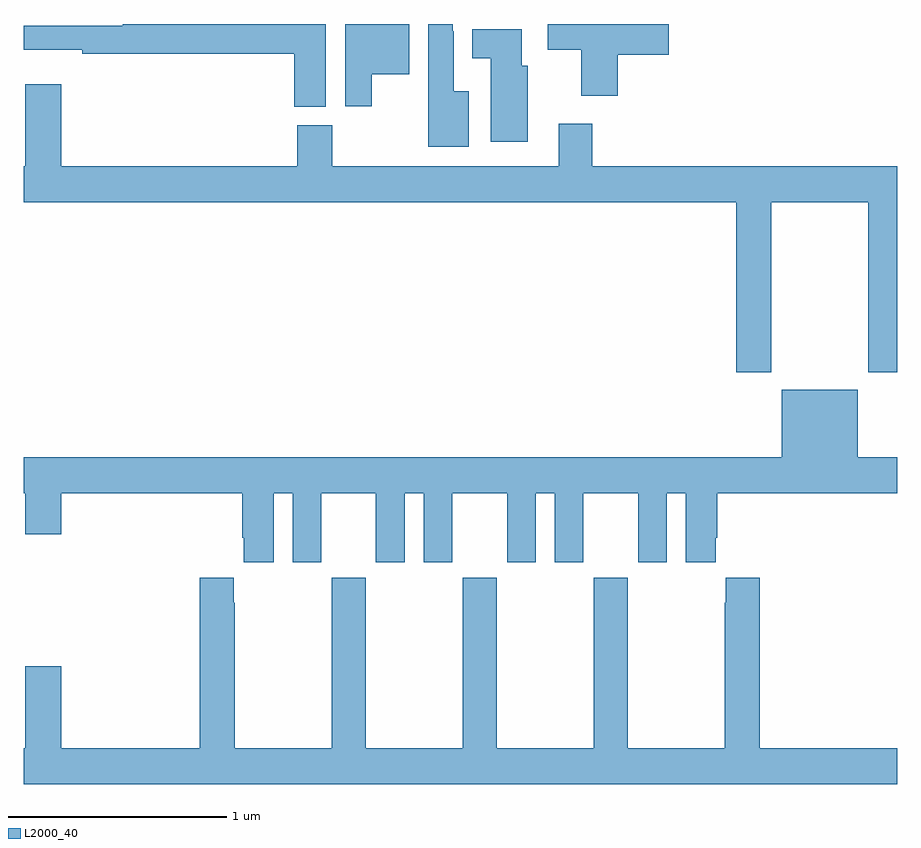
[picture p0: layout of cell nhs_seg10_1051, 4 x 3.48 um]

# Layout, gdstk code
import gdstk
lib = gdstk.Library(unit=1e-6, precision=1e-09)
def P(c, l, *ps):  # polygons
    for p in ps: c.add(gdstk.Polygon(p, *l))
L2000_40 = (2000, 40)

nhs_seg10_1051 = lib.new_cell('nhs_seg10_1051')
P(nhs_seg10_1051, L2000_40, [(167.038,1266.193),(166.969,1266.193),(166.969,1266.467),(166.965,1266.467),(166.965,1266.5),(166.853,1266.5),(166.853,1265.939),(167.038,1265.939)],
  [(166.594,1266.269),(166.765,1266.269),(166.765,1266.5),(166.472,1266.5),(166.472,1266.123),(166.594,1266.123)],
  [(167.72,1266.359),(167.953,1266.359),(167.953,1266.5),(167.4,1266.5),(167.4,1266.382),(167.552,1266.382),(167.552,1266.171),(167.72,1266.171)],
  [(166.384,1266.5),(165.454,1266.5),(165.454,1266.493),(165,1266.493),(165,1266.383),(165.268,1266.383),(165.268,1266.364),(166.238,1266.364),(166.238,1266.121),(166.384,1266.121)],
  [(167.308,1266.309),(167.281,1266.309),(167.281,1266.475),(167.054,1266.475),(167.054,1266.344),(167.138,1266.344),(167.138,1265.961),(167.308,1265.961)],
  [(168.423,1265.684),(168.868,1265.684),(168.868,1264.905),(169,1264.905),(169,1265.848),(167.603,1265.848),(167.603,1266.043),(167.45,1266.043),(167.45,1265.848),(166.413,1265.848),(166.413,1266.036),(166.253,1266.036),(166.253,1265.848),(165.172,1265.848),(165.172,1266.223),(165.008,1266.223),(165.008,1265.848),(165,1265.848),(165,1265.684),(168.263,1265.684),(168.263,1264.905),(168.423,1264.905)],
  [(166.144,1264.352),(166.232,1264.352),(166.232,1264.035),(166.363,1264.035),(166.363,1264.352),(166.613,1264.352),(166.613,1264.035),(166.744,1264.035),(166.744,1264.352),(166.832,1264.352),(166.832,1264.035),(166.963,1264.035),(166.963,1264.352),(167.213,1264.352),(167.213,1264.035),(167.344,1264.035),(167.344,1264.352),(167.432,1264.352),(167.432,1264.035),(167.563,1264.035),(167.563,1264.352),(167.813,1264.352),(167.813,1264.035),(167.944,1264.035),(167.944,1264.352),(168.032,1264.352),(168.032,1264.035),(168.169,1264.035),(168.169,1264.147),(168.176,1264.147),(168.176,1264.352),(169,1264.352),(169,1264.516),(168.82,1264.516),(168.82,1264.825),(168.47,1264.825),(168.47,1264.516),(165,1264.516),(165,1264.352),(165.008,1264.352),(165.008,1264.164),(165.172,1264.164),(165.172,1264.352),(166.001,1264.352),(166.001,1264.147),(166.007,1264.147),(166.007,1264.035),(166.144,1264.035)],
  [(169,1263.184),(168.371,1263.184),(168.371,1263.964),(168.215,1263.964),(168.215,1263.851),(168.211,1263.851),(168.211,1263.184),(167.766,1263.184),(167.766,1263.964),(167.611,1263.964),(167.611,1263.184),(167.166,1263.184),(167.166,1263.964),(167.011,1263.964),(167.011,1263.184),(166.566,1263.184),(166.566,1263.964),(166.411,1263.964),(166.411,1263.184),(165.966,1263.184),(165.966,1263.851),(165.961,1263.851),(165.961,1263.964),(165.806,1263.964),(165.806,1263.184),(165.172,1263.184),(165.172,1263.559),(165.008,1263.559),(165.008,1263.184),(165,1263.184),(165,1263.02),(169,1263.02)])

lib.write_gds('nhs_seg10_1051.gds')
